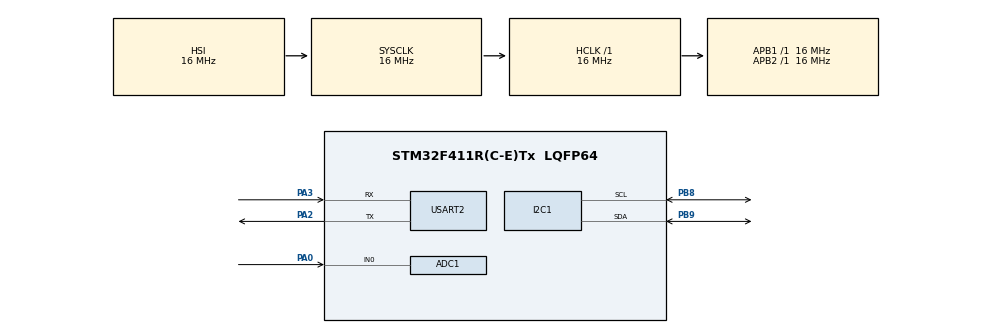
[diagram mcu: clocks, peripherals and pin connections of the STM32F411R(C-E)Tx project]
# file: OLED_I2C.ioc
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ADC1.Channel-0\#ChannelRegularConversion=ADC_CHANNEL_0
ADC1.ClockPrescaler=ADC_CLOCK_SYNC_PCLK_DIV4
ADC1.NbrOfConversionFlag=1
ADC1.Rank-0\#ChannelRegularConversion=1
ADC1.SamplingTime-0\#ChannelRegularConversion=ADC_SAMPLETIME_3CYCLES
ADC1.master=1
I2C1.I2C_Mode=I2C_Fast
Mcu.Family=STM32F4
Mcu.Name=STM32F411R(C-E)Tx
Mcu.Package=LQFP64
NVIC.PriorityGroup=NVIC_PRIORITYGROUP_4
PA0-WKUP.Signal=ADCx_IN0
PA13.Mode=Serial_Wire
PA13.Signal=SYS_JTMS-SWDIO
PA14.Mode=Serial_Wire
PA14.Signal=SYS_JTCK-SWCLK
PA2.Mode=Asynchronous
PA2.Signal=USART2_TX
PA3.Mode=Asynchronous
PA3.Signal=USART2_RX
PB8.Mode=I2C
PB8.Signal=I2C1_SCL
PB9.Mode=I2C
PB9.Signal=I2C1_SDA
ProjectManager.HeapSize=0x200
ProjectManager.StackSize=0x400
ProjectManager.TargetToolchain=STM32CubeIDE
RCC.AHBFreq_Value=16000000
RCC.APB1Freq_Value=16000000
RCC.APB2Freq_Value=16000000
RCC.CortexFreq_Value=16000000
RCC.HSE_VALUE=25000000
RCC.HSI_VALUE=16000000
RCC.LSE_VALUE=32768
RCC.SYSCLKFreq_VALUE=16000000
RCC.VCOOutputFreq_Value=192000000
SH.ADCx_IN0.0=ADC1_IN0,IN0
USART2.VirtualMode=VM_ASYNC
board=custom

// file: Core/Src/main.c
/* USER CODE BEGIN Header */
/**
  ******************************************************************************
  * @file           : main.c
  * @brief          : Main program body
  ******************************************************************************
  * @attention
  *
  * Copyright (c) 2024 STMicroelectronics.
  * All rights reserved.
  *
  * This software is licensed under terms that can be found in the LICENSE file
  * in the root directory of this software component.
  * If no LICENSE file comes with this software, it is provided AS-IS.
  *
  ******************************************************************************
  */
/* USER CODE END Header */
#include "main.h"

/* USER CODE BEGIN Includes */
#include "fonts.h"
#include "ssd1306.h"
#include "string.h"
#include "stdio.h"
/* USER CODE END Includes */

ADC_HandleTypeDef hadc1;

I2C_HandleTypeDef hi2c1;

UART_HandleTypeDef huart2;

void SystemClock_Config(void);
static void MX_GPIO_Init(void);
static void MX_I2C1_Init(void);
static void MX_ADC1_Init(void);
static void MX_USART2_UART_Init(void);
/* USER CODE BEGIN PFP */
void uprintf(char *str)
{
	HAL_UART_Transmit(&huart2, (uint8_t*) str, strlen(str), 100);
}
/* USER CODE END PFP */

/* USER CODE BEGIN 0 */
int row = 0;
int col = 0;
/* USER CODE END 0 */

int main(void)
{

  /* MCU Configuration--------------------------------------------------------*/

  /* Reset of all peripherals, Initializes the Flash interface and the Systick. */
  HAL_Init();

  /* Configure the system clock */
  SystemClock_Config();

  /* Initialize all configured peripherals */
  MX_GPIO_Init();
  MX_I2C1_Init();
  MX_ADC1_Init();
  MX_USART2_UART_Init();
  /* USER CODE BEGIN 2 */
  SSD1306_Init();
  //int m = 1;
  //char c[5];
  uint16_t result = 0;
  float V;
  uint16_t measurement = 0;
  //char firstMes[] = "Voltage is";
  char volt[15];
  int first;
  int second;
  /* USER CODE END 2 */

  /* Infinite loop */
  /* USER CODE BEGIN WHILE */
  SSD1306_Clear();
  while (1)
  {
	  HAL_ADC_Start(&hadc1);
	  HAL_ADC_PollForConversion(&hadc1, 100);
	  result = HAL_ADC_GetValue(&hadc1);
	  HAL_ADC_Stop(&hadc1);
	  V = ((float)result / (float)4090) * 3.3;
	  measurement++;

	  first = (int)V;
	  second = (int)((V-(int)V)*100);
	  sprintf(volt, "VOLT = %d.%d", first, second);

	  SSD1306_GotoXY(0,10);
	  SSD1306_Puts(volt, &Font_11x18, 1);  //доступные шрифты Font_7x10, Font_11x18, Font_16x26
	  HAL_Delay(100);
	  SSD1306_UpdateScreen();
    /* USER CODE END WHILE */

  }
}

void SystemClock_Config(void)
{
  RCC_OscInitTypeDef RCC_OscInitStruct = {0};
  RCC_ClkInitTypeDef RCC_ClkInitStruct = {0};

  /** Configure the main internal regulator output voltage
  */
  __HAL_RCC_PWR_CLK_ENABLE();
  __HAL_PWR_VOLTAGESCALING_CONFIG(PWR_REGULATOR_VOLTAGE_SCALE1);

  /** Initializes the RCC Oscillators according to the specified parameters
  * in the RCC_OscInitTypeDef structure.
  */
  RCC_OscInitStruct.OscillatorType = RCC_OSCILLATORTYPE_HSI;
  RCC_OscInitStruct.HSIState = RCC_HSI_ON;
  RCC_OscInitStruct.HSICalibrationValue = RCC_HSICALIBRATION_DEFAULT;
  RCC_OscInitStruct.PLL.PLLState = RCC_PLL_NONE;
  if (HAL_RCC_OscConfig(&RCC_OscInitStruct) != HAL_OK)
  {
    Error_Handler();
  }

  /** Initializes the CPU, AHB and APB buses clocks
  */
  RCC_ClkInitStruct.ClockType = RCC_CLOCKTYPE_HCLK|RCC_CLOCKTYPE_SYSCLK
                              |RCC_CLOCKTYPE_PCLK1|RCC_CLOCKTYPE_PCLK2;
  RCC_ClkInitStruct.SYSCLKSource = RCC_SYSCLKSOURCE_HSI;
  RCC_ClkInitStruct.AHBCLKDivider = RCC_SYSCLK_DIV1;
  RCC_ClkInitStruct.APB1CLKDivider = RCC_HCLK_DIV1;
  RCC_ClkInitStruct.APB2CLKDivider = RCC_HCLK_DIV1;

  if (HAL_RCC_ClockConfig(&RCC_ClkInitStruct, FLASH_LATENCY_0) != HAL_OK)
  {
    Error_Handler();
  }
}

static void MX_ADC1_Init(void)
{

  ADC_ChannelConfTypeDef sConfig = {0};

  /** Configure the global features of the ADC (Clock, Resolution, Data Alignment and number of conversion)
  */
  hadc1.Instance = ADC1;
  hadc1.Init.ClockPrescaler = ADC_CLOCK_SYNC_PCLK_DIV4;
  hadc1.Init.Resolution = ADC_RESOLUTION_12B;
  hadc1.Init.ScanConvMode = DISABLE;
  hadc1.Init.ContinuousConvMode = DISABLE;
  hadc1.Init.DiscontinuousConvMode = DISABLE;
  hadc1.Init.ExternalTrigConvEdge = ADC_EXTERNALTRIGCONVEDGE_NONE;
  hadc1.Init.ExternalTrigConv = ADC_SOFTWARE_START;
  hadc1.Init.DataAlign = ADC_DATAALIGN_RIGHT;
  hadc1.Init.NbrOfConversion = 1;
  hadc1.Init.DMAContinuousRequests = DISABLE;
  hadc1.Init.EOCSelection = ADC_EOC_SINGLE_CONV;
  if (HAL_ADC_Init(&hadc1) != HAL_OK)
  {
    Error_Handler();
  }

  /** Configure for the selected ADC regular channel its corresponding rank in the sequencer and its sample time.
  */
  sConfig.Channel = ADC_CHANNEL_0;
  sConfig.Rank = 1;
  sConfig.SamplingTime = ADC_SAMPLETIME_3CYCLES;
  if (HAL_ADC_ConfigChannel(&hadc1, &sConfig) != HAL_OK)
  {
    Error_Handler();
  }

}

static void MX_I2C1_Init(void)
{

  hi2c1.Instance = I2C1;
  hi2c1.Init.ClockSpeed = 400000;
  hi2c1.Init.DutyCycle = I2C_DUTYCYCLE_2;
  hi2c1.Init.OwnAddress1 = 0;
  hi2c1.Init.AddressingMode = I2C_ADDRESSINGMODE_7BIT;
  hi2c1.Init.DualAddressMode = I2C_DUALADDRESS_DISABLE;
  hi2c1.Init.OwnAddress2 = 0;
  hi2c1.Init.GeneralCallMode = I2C_GENERALCALL_DISABLE;
  hi2c1.Init.NoStretchMode = I2C_NOSTRETCH_DISABLE;
  if (HAL_I2C_Init(&hi2c1) != HAL_OK)
  {
    Error_Handler();
  }

}

static void MX_USART2_UART_Init(void)
{

  huart2.Instance = USART2;
  huart2.Init.BaudRate = 115200;
  huart2.Init.WordLength = UART_WORDLENGTH_8B;
  huart2.Init.StopBits = UART_STOPBITS_1;
  huart2.Init.Parity = UART_PARITY_NONE;
  huart2.Init.Mode = UART_MODE_TX_RX;
  huart2.Init.HwFlowCtl = UART_HWCONTROL_NONE;
  huart2.Init.OverSampling = UART_OVERSAMPLING_16;
  if (HAL_UART_Init(&huart2) != HAL_OK)
  {
    Error_Handler();
  }

}

static void MX_GPIO_Init(void)
{

  /* GPIO Ports Clock Enable */
  __HAL_RCC_GPIOA_CLK_ENABLE();
  __HAL_RCC_GPIOB_CLK_ENABLE();

}

void Error_Handler(void)
{
  __disable_irq();
  while (1)
  {
  }
}
